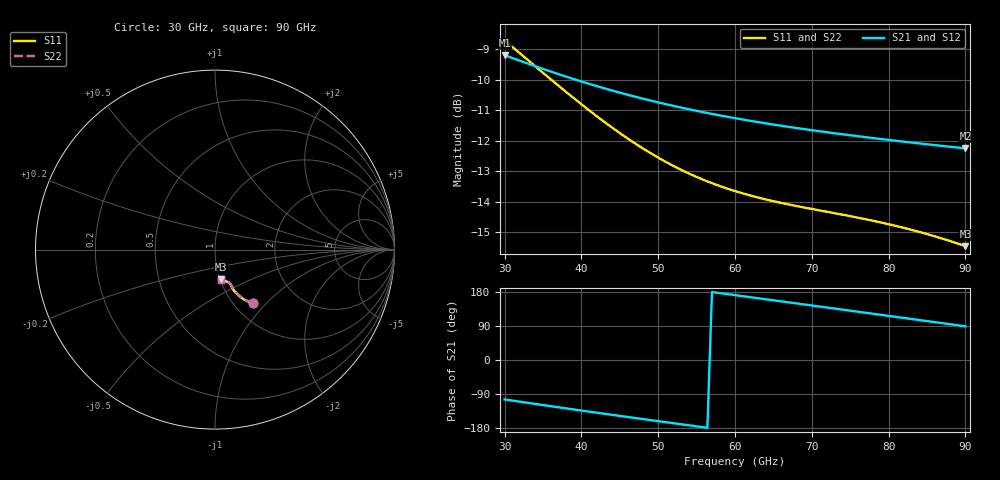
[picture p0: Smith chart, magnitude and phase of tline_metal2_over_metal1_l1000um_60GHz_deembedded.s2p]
! Created with skrf 2.0.1 (http://scikit-rf.org).
# GHz S DB R 50.0
!freq dBS11 angS11 dBS21 angS21 dBS12 angS12 dBS22 angS22
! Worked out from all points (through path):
!   101 points, 30 GHz to 90 GHz, reference 50 ohm
!   highest |S21| = -9.20 dB at 30 GHz (marker M1); lowest = -12.3 dB at 90 GHz (marker M2)
!   group delay of S21, straight-line fit = 7.68 ps
!   lowest |S11| = -15.4 dB at 90 GHz (marker M3), VSWR 1.41, Z = 50.7 - j17.2 ohm
!   |S11| at or under -10 dB: 36.05 GHz to end of sweep
!   |S22| runs from -15.4 to -8.7 dB; largest |S21 - S12| = 1.6e-16
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30  -8.72 -54.7  -9.20 -104.0  -9.20 -104.0  -8.74 -54.4
32.4  -9.23 -57.2  -9.42 -111.2  -9.42 -111.2  -9.25 -56.8
34.8  -9.74 -59.3  -9.63 -118.3  -9.63 -118.3  -9.76 -58.9
37.2  -10.24 -61.1  -9.84 -125.3  -9.84 -125.3  -10.26 -60.6
40.2  -10.85 -62.9  -10.08 -133.9  -10.08 -133.9  -10.86 -62.3
42.6  -11.31 -64.0  -10.26 -140.7  -10.26 -140.7  -11.33 -63.4
45  -11.75 -64.8  -10.43 -147.5  -10.43 -147.5  -11.76 -64.1
47.4  -12.16 -65.3  -10.59 -154.1  -10.59 -154.1  -12.16 -64.6
50.4  -12.61 -65.8  -10.77 -162.4  -10.77 -162.4  -12.60 -65.0
52.8  -12.93 -66.0  -10.91 -169.0  -10.91 -169.0  -12.91 -65.2
55.2  -13.21 -66.1  -11.03 -175.6  -11.03 -175.6  -13.18 -65.4
57.6  -13.44 -66.3  -11.15 177.8  -11.15 177.8  -13.41 -65.5
60  -13.65 -66.5  -11.26 171.2  -11.26 171.2  -13.60 -65.7
64.8  -13.97 -67.1  -11.46 158.1  -11.46 158.1  -13.90 -66.4
67.2  -14.09 -67.6  -11.55 151.6  -11.55 151.6  -14.03 -67.0
70.2  -14.24 -68.5  -11.66 143.4  -11.66 143.4  -14.17 -67.9
73.2  -14.38 -69.5  -11.76 135.1  -11.76 135.1  -14.30 -69.1
75.6  -14.50 -70.5  -11.84 128.6  -11.84 128.6  -14.41 -70.1
80.4  -14.75 -72.8  -11.99 115.4  -11.99 115.4  -14.67 -72.6
85.2  -15.07 -75.3  -12.12 102.2  -12.12 102.2  -14.98 -75.3
87.6  -15.25 -76.6  -12.19 95.6  -12.19 95.6  -15.17 -76.7
90  -15.45 -77.9  -12.25 89.0  -12.25 89.0  -15.37 -78.0
